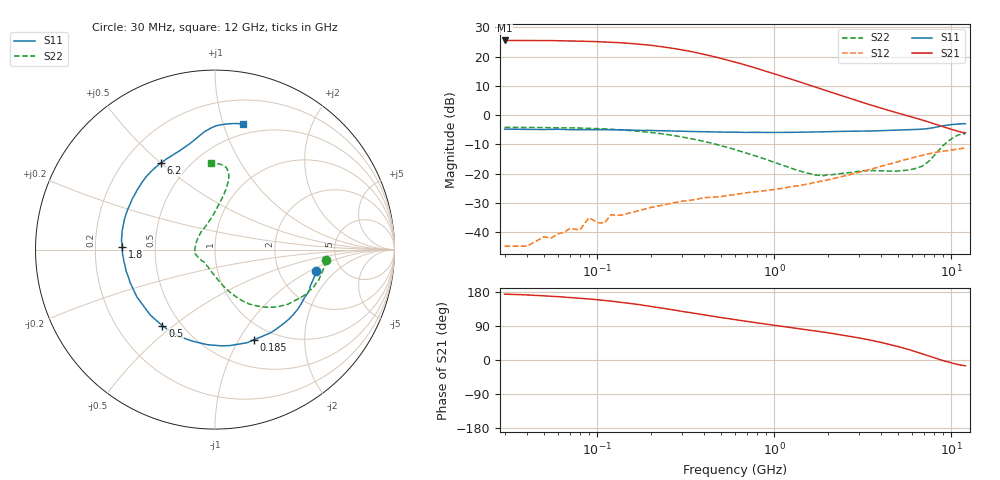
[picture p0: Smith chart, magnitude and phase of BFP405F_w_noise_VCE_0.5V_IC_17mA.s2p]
! Infineon Technologies  Discrete & RF Semiconductors
! BFP405F
! VCE =  0.5 V,  IC =  17 mA
! Common Emitter S-Parameters:  Nov 2015
# GHz  S  MA  R  50
!  f  S11  S21  S12  S22
! GHz  MAG  ANG  MAG  ANG  MAG  ANG  MAG  ANG
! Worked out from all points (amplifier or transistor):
!   239 points, 30 MHz to 12 GHz, reference 50 ohm
!   highest |S21| = 25.5 dB at 30 MHz (marker M1)
!   |S21| within 3 dB of that: start of sweep to 287.6 MHz
!   unconditionally stable (mu >= 1): start of sweep to 81.86 MHz; 586.7 MHz to end of sweep
!   at 300 MHz: K = 0.70, MSG = 25.8 dB, |S12| = -29.4 dB
!   at 1.88 GHz: K = 1.85, MAG = 10.3 dB, |S12| = -22.4 dB
!   at 12 GHz: K = 1.76, MAG = -2.5 dB, |S12| = -11.1 dB
!   lowest NFmin = 2.08 dB at 450 MHz
!   S11 on the Smith chart (normalised r, x): 30 MHz: 3.25, -1.19; 185 MHz: 0.81, -1.16; 500 MHz: 0.40, -0.46; 1.8 GHz: 0.32, +0.01; 6.2 GHz: 0.35, +0.50; 12 GHz: 0.41, +1.16
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0.03  0.5771 -12.2  18.83 173.8  0.0058 79.3  0.6187 -5.6
0.04  0.5727 -16.4  18.82 171.8  0.0058 77.8  0.6181 -7.9
0.05  0.5682 -21.1  18.82 169.2  0.0084 57.5  0.6133 -10.3
0.06  0.5746 -23.3  18.64 167.2  0.0094 110.5  0.6112 -11.4
0.085  0.5673 -33.7  18.23 161.9  0.0143 75.2  0.5982 -17.2
0.105  0.5663 -40.8  17.86 158.1  0.0145 74.5  0.5863 -21.1
0.14  0.5592 -53.0  17.12 151.6  0.0199 73.0  0.5595 -27.2
0.185  0.5475 -66.6  15.95 144.0  0.0249 64.7  0.5192 -34.3
0.2  0.5487 -71.0  15.61 141.3  0.0265 62.9  0.5081 -36.8
0.24  0.5411 -80.9  14.5 136.0  0.0296 59.1  0.4742 -42.1
0.32  0.5275 -98.1  12.59 126.5  0.0347 52.0  0.4104 -50.8
0.4  0.5235 -111.7  10.94 119.0  0.039 48.1  0.3568 -58.0
0.5  0.5156 -124.6  9.299 111.9  0.0407 44.9  0.3006 -64.6
0.6  0.5128 -134.6  8.034 106.3  0.0443 45.3  0.2584 -69.8
0.9  0.5062 -154.3  5.61 94.5  0.0518 44.3  0.1746 -83.1
1.2  0.5096 -166.5  4.263 86.6  0.059 45.2  0.1301 -96.9
1.64  0.5161 -178.3  3.141 77.9  0.0694 46.8  0.0984 -119.3
1.8  0.5184 178.1  2.857 75.1  0.0737 47.7  0.0939 -128.5
2.72  0.531 162.8  1.898 61.9  0.0978 47.4  0.1049 -159.6
4.5  0.5485 140.5  1.189 40.9  0.1473 41.2  0.1109 171.4
6.2  0.5691 122.0  0.9 22.8  0.1916 31.5  0.1214 132.2
12  0.7143 77.6  0.5 -15.1  0.2801 1.5  0.4814 92.9
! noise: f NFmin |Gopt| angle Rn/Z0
0.45  2.08  0.07  0  0.34
0.9  2.1  0.06  2  0.36
1.5  2.15  0.05  1  0.23
1.9  2.21  0.03  -15  0.22
2.4  2.35  0.02  -69  0.34
3  2.44  0.03  -103  0.11
3.5  2.5  0.05  -109  0.28
4.5  2.72  0.11  -100  0.41
5.5  3  0.19  -88  0.37
